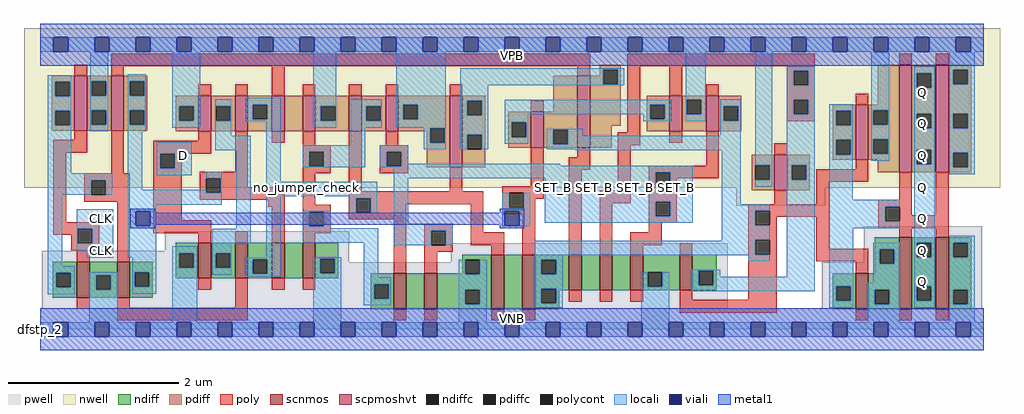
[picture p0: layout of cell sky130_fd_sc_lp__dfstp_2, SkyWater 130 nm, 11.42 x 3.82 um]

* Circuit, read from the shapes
.subckt sky130_fd_sc_lp__dfstp_2 CLK D SET_B VGND VNB VPB VPWR Q
XM1 VGND CLK n1 VNB sky130_fd_pr__nfet_01v8 w=0.42 l=0.15
XM2 n2 n1 VGND VNB sky130_fd_pr__nfet_01v8 w=0.42 l=0.15
XM3 n3 D VGND VNB sky130_fd_pr__nfet_01v8 w=0.42 l=0.15
XM4 n4 n1 n3 VNB sky130_fd_pr__nfet_01v8 w=0.42 l=0.15
XM5 n5 n2 n4 VNB sky130_fd_pr__nfet_01v8 w=0.42 l=0.15
XM6 VGND n6 n5 VNB sky130_fd_pr__nfet_01v8 w=0.42 l=0.15
XM7 n7 n4 n6 VNB sky130_fd_pr__nfet_01v8 w=0.42 l=0.15
XM8 VGND SET_B n7 VNB sky130_fd_pr__nfet_01v8 w=0.42 l=0.15
XM9 n8 n4 VGND VNB sky130_fd_pr__nfet_01v8 w=0.64 l=0.15
XM10 n9 n2 n8 VNB sky130_fd_pr__nfet_01v8 w=0.64 l=0.15
XM11 n10 n1 n9 VNB sky130_fd_pr__nfet_01v8 w=0.42 l=0.15
XM12 n11 n12 n10 VNB sky130_fd_pr__nfet_01v8 w=0.42 l=0.15
XM13 VGND SET_B n11 VNB sky130_fd_pr__nfet_01v8 w=0.42 l=0.15
XM14 n12 n9 VGND VNB sky130_fd_pr__nfet_01v8 w=0.42 l=0.15
XM15 VGND n9 n13 VNB sky130_fd_pr__nfet_01v8 w=0.42 l=0.15
XM16 Q n13 VGND VNB sky130_fd_pr__nfet_01v8 w=0.84 l=0.15 m=2
XM17 VPWR CLK n1 VPB sky130_fd_pr__pfet_01v8_hvt w=0.64 l=0.15
XM18 n2 n1 VPWR VPB sky130_fd_pr__pfet_01v8_hvt w=0.64 l=0.15
XM19 n3 D VPWR VPB sky130_fd_pr__pfet_01v8_hvt w=0.42 l=0.15
XM20 n4 n2 n3 VPB sky130_fd_pr__pfet_01v8_hvt w=0.42 l=0.15
XM21 n14 n1 n4 VPB sky130_fd_pr__pfet_01v8_hvt w=0.42 l=0.15
XM22 VPWR n6 n14 VPB sky130_fd_pr__pfet_01v8_hvt w=0.42 l=0.15
XM23 n6 n4 VPWR VPB sky130_fd_pr__pfet_01v8_hvt w=0.42 l=0.15
XM24 VPWR SET_B n6 VPB sky130_fd_pr__pfet_01v8_hvt w=0.42 l=0.15
XM25 n15 n4 VPWR VPB sky130_fd_pr__pfet_01v8_hvt w=0.84 l=0.15
XM26 n9 n2 n16 VPB sky130_fd_pr__pfet_01v8_hvt w=0.42 l=0.15
XM27 n15 n1 n9 VPB sky130_fd_pr__pfet_01v8_hvt w=0.84 l=0.15
XM28 VPWR n12 n16 VPB sky130_fd_pr__pfet_01v8_hvt w=0.42 l=0.15
XM29 n9 SET_B VPWR VPB sky130_fd_pr__pfet_01v8_hvt w=0.42 l=0.15
XM30 n12 n9 VPWR VPB sky130_fd_pr__pfet_01v8_hvt w=0.42 l=0.15
XM31 VPWR n9 n13 VPB sky130_fd_pr__pfet_01v8_hvt w=0.64 l=0.15
XM32 Q n13 VPWR VPB sky130_fd_pr__pfet_01v8_hvt w=1.26 l=0.15 m=2
.ends

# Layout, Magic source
magic
tech sky130A
magscale 1 2
<< nwell >>
rect -38 331 2246 704
rect 1629 289 1837 331
<< pwell >>
rect 291 184 723 229
rect 3 157 723 184
rect 961 157 1609 201
rect 1927 157 2205 241
rect 3 49 1609 157
rect 1829 49 2205 157
rect 0 0 2208 49
<< scnmos >>
rect 86 74 116 158
rect 180 74 210 158
rect 370 119 400 203
rect 456 119 486 203
rect 542 119 572 203
rect 614 119 644 203
rect 827 47 857 131
rect 899 47 929 131
rect 1056 47 1086 175
rect 1128 47 1158 175
rect 1237 91 1267 175
rect 1309 91 1339 175
rect 1381 91 1411 175
rect 1496 91 1526 175
rect 1908 47 1938 131
rect 2010 47 2040 215
rect 2096 47 2126 215
<< scpmoshvt >>
rect 80 465 110 593
rect 166 465 196 593
rect 370 463 400 547
rect 456 463 486 547
rect 542 463 572 547
rect 614 463 644 547
rect 722 463 752 547
rect 808 463 838 547
rect 958 379 988 547
rect 1148 425 1178 509
rect 1257 425 1287 593
rect 1472 463 1502 547
rect 1558 463 1588 547
rect 1718 325 1748 409
rect 1908 397 1938 525
rect 2010 367 2040 619
rect 2096 367 2126 619
<< ndiff >>
rect 317 178 370 203
rect 29 132 86 158
rect 29 98 37 132
rect 71 98 86 132
rect 29 74 86 98
rect 116 126 180 158
rect 116 92 131 126
rect 165 92 180 126
rect 116 74 180 92
rect 210 133 263 158
rect 210 99 221 133
rect 255 99 263 133
rect 317 144 325 178
rect 359 144 370 178
rect 317 119 370 144
rect 400 178 456 203
rect 400 144 411 178
rect 445 144 456 178
rect 400 119 456 144
rect 486 164 542 203
rect 486 130 497 164
rect 531 130 542 164
rect 486 119 542 130
rect 572 119 614 203
rect 644 165 697 203
rect 644 131 655 165
rect 689 131 697 165
rect 987 163 1056 175
rect 987 131 995 163
rect 644 119 697 131
rect 210 74 263 99
rect 774 106 827 131
rect 774 72 782 106
rect 816 72 827 106
rect 774 47 827 72
rect 857 47 899 131
rect 929 129 995 131
rect 1029 129 1056 163
rect 929 93 1056 129
rect 929 59 995 93
rect 1029 59 1056 93
rect 929 47 1056 59
rect 1086 47 1128 175
rect 1158 163 1237 175
rect 1158 129 1173 163
rect 1207 129 1237 163
rect 1158 95 1237 129
rect 1158 61 1173 95
rect 1207 91 1237 95
rect 1267 91 1309 175
rect 1339 91 1381 175
rect 1411 133 1496 175
rect 1411 99 1422 133
rect 1456 99 1496 133
rect 1411 91 1496 99
rect 1526 137 1583 175
rect 1526 103 1541 137
rect 1575 103 1583 137
rect 1526 91 1583 103
rect 1207 61 1215 91
rect 1953 187 2010 215
rect 1953 153 1965 187
rect 1999 153 2010 187
rect 1953 131 2010 153
rect 1158 47 1215 61
rect 1855 101 1908 131
rect 1855 67 1863 101
rect 1897 67 1908 101
rect 1855 47 1908 67
rect 1938 93 2010 131
rect 1938 59 1953 93
rect 1987 59 2010 93
rect 1938 47 2010 59
rect 2040 203 2096 215
rect 2040 169 2051 203
rect 2085 169 2096 203
rect 2040 101 2096 169
rect 2040 67 2051 101
rect 2085 67 2096 101
rect 2040 47 2096 67
rect 2126 203 2179 215
rect 2126 169 2137 203
rect 2171 169 2179 203
rect 2126 93 2179 169
rect 2126 59 2137 93
rect 2171 59 2179 93
rect 2126 47 2179 59
<< pdiff >>
rect 27 579 80 593
rect 27 545 35 579
rect 69 545 80 579
rect 27 511 80 545
rect 27 477 35 511
rect 69 477 80 511
rect 27 465 80 477
rect 110 581 166 593
rect 110 547 121 581
rect 155 547 166 581
rect 110 513 166 547
rect 110 479 121 513
rect 155 479 166 513
rect 110 465 166 479
rect 196 581 251 593
rect 196 547 209 581
rect 243 547 251 581
rect 1309 607 1359 619
rect 1309 593 1317 607
rect 196 513 251 547
rect 196 479 209 513
rect 243 479 251 513
rect 196 465 251 479
rect 317 522 370 547
rect 317 488 325 522
rect 359 488 370 522
rect 317 463 370 488
rect 400 522 456 547
rect 400 488 411 522
rect 445 488 456 522
rect 400 463 456 488
rect 486 526 542 547
rect 486 492 497 526
rect 531 492 542 526
rect 486 463 542 492
rect 572 463 614 547
rect 644 522 722 547
rect 644 488 657 522
rect 691 488 722 522
rect 644 463 722 488
rect 752 522 808 547
rect 752 488 763 522
rect 797 488 808 522
rect 752 463 808 488
rect 838 525 958 547
rect 838 491 849 525
rect 883 491 958 525
rect 838 471 958 491
rect 838 463 913 471
rect 905 437 913 463
rect 947 437 958 471
rect 905 379 958 437
rect 988 535 1041 547
rect 988 501 999 535
rect 1033 501 1041 535
rect 1200 509 1257 593
rect 988 455 1041 501
rect 988 421 999 455
rect 1033 421 1041 455
rect 1095 484 1148 509
rect 1095 450 1103 484
rect 1137 450 1148 484
rect 1095 425 1148 450
rect 1178 467 1257 509
rect 1178 433 1201 467
rect 1235 433 1257 467
rect 1178 425 1257 433
rect 1287 573 1317 593
rect 1351 573 1359 607
rect 1287 476 1359 573
rect 1287 425 1337 476
rect 1419 525 1472 547
rect 1419 491 1427 525
rect 1461 491 1472 525
rect 1419 463 1472 491
rect 1502 537 1558 547
rect 1502 503 1513 537
rect 1547 503 1558 537
rect 1502 463 1558 503
rect 1588 522 1641 547
rect 1588 488 1599 522
rect 1633 488 1641 522
rect 1588 463 1641 488
rect 1960 525 2010 619
rect 1855 511 1908 525
rect 1855 477 1863 511
rect 1897 477 1908 511
rect 988 379 1041 421
rect 1855 443 1908 477
rect 1855 409 1863 443
rect 1897 409 1908 443
rect 1665 384 1718 409
rect 1665 350 1673 384
rect 1707 350 1718 384
rect 1665 325 1718 350
rect 1748 384 1801 409
rect 1855 397 1908 409
rect 1938 513 2010 525
rect 1938 479 1949 513
rect 1983 479 2010 513
rect 1938 445 2010 479
rect 1938 411 1949 445
rect 1983 411 2010 445
rect 1938 397 2010 411
rect 1748 350 1759 384
rect 1793 350 1801 384
rect 1748 325 1801 350
rect 1960 367 2010 397
rect 2040 599 2096 619
rect 2040 565 2051 599
rect 2085 565 2096 599
rect 2040 504 2096 565
rect 2040 470 2051 504
rect 2085 470 2096 504
rect 2040 420 2096 470
rect 2040 386 2051 420
rect 2085 386 2096 420
rect 2040 367 2096 386
rect 2126 607 2179 619
rect 2126 573 2137 607
rect 2171 573 2179 607
rect 2126 505 2179 573
rect 2126 471 2137 505
rect 2171 471 2179 505
rect 2126 413 2179 471
rect 2126 379 2137 413
rect 2171 379 2179 413
rect 2126 367 2179 379
<< ndiffc >>
rect 37 98 71 132
rect 131 92 165 126
rect 221 99 255 133
rect 325 144 359 178
rect 411 144 445 178
rect 497 130 531 164
rect 655 131 689 165
rect 782 72 816 106
rect 995 129 1029 163
rect 995 59 1029 93
rect 1173 129 1207 163
rect 1173 61 1207 95
rect 1422 99 1456 133
rect 1541 103 1575 137
rect 1965 153 1999 187
rect 1863 67 1897 101
rect 1953 59 1987 93
rect 2051 169 2085 203
rect 2051 67 2085 101
rect 2137 169 2171 203
rect 2137 59 2171 93
<< pdiffc >>
rect 35 545 69 579
rect 35 477 69 511
rect 121 547 155 581
rect 121 479 155 513
rect 209 547 243 581
rect 209 479 243 513
rect 325 488 359 522
rect 411 488 445 522
rect 497 492 531 526
rect 657 488 691 522
rect 763 488 797 522
rect 849 491 883 525
rect 913 437 947 471
rect 999 501 1033 535
rect 999 421 1033 455
rect 1103 450 1137 484
rect 1201 433 1235 467
rect 1317 573 1351 607
rect 1427 491 1461 525
rect 1513 503 1547 537
rect 1599 488 1633 522
rect 1863 477 1897 511
rect 1863 409 1897 443
rect 1673 350 1707 384
rect 1949 479 1983 513
rect 1949 411 1983 445
rect 1759 350 1793 384
rect 2051 565 2085 599
rect 2051 470 2085 504
rect 2051 386 2085 420
rect 2137 573 2171 607
rect 2137 471 2171 505
rect 2137 379 2171 413
<< poly >>
rect 80 593 110 619
rect 166 615 1287 645
rect 166 593 196 615
rect 370 547 400 573
rect 456 547 486 573
rect 542 547 572 615
rect 1257 593 1287 615
rect 614 547 644 573
rect 722 547 752 573
rect 808 547 838 573
rect 958 547 988 573
rect 80 443 110 465
rect 31 413 110 443
rect 31 251 61 413
rect 166 365 196 465
rect 370 441 400 463
rect 265 411 400 441
rect 265 377 281 411
rect 315 377 331 411
rect 103 349 210 365
rect 103 315 119 349
rect 153 315 210 349
rect 103 299 210 315
rect 31 235 138 251
rect 31 221 88 235
rect 72 201 88 221
rect 122 201 138 235
rect 72 185 138 201
rect 86 158 116 185
rect 180 158 210 299
rect 265 255 331 377
rect 456 369 486 463
rect 542 437 572 463
rect 373 353 486 369
rect 373 319 389 353
rect 423 333 486 353
rect 614 431 644 463
rect 614 415 680 431
rect 614 381 630 415
rect 664 381 680 415
rect 614 365 680 381
rect 423 319 564 333
rect 373 317 564 319
rect 373 303 572 317
rect 534 287 572 303
rect 265 225 400 255
rect 370 203 400 225
rect 456 203 486 229
rect 542 203 572 287
rect 614 291 644 365
rect 722 323 752 463
rect 808 431 838 463
rect 795 415 861 431
rect 795 381 811 415
rect 845 381 861 415
rect 795 365 861 381
rect 1148 509 1178 535
rect 1374 615 1813 645
rect 2010 619 2040 645
rect 2096 619 2126 645
rect 1374 461 1404 615
rect 1472 547 1502 615
rect 1747 605 1813 615
rect 1558 547 1588 573
rect 1747 571 1763 605
rect 1797 571 1813 605
rect 1747 537 1813 571
rect 1747 503 1763 537
rect 1797 503 1813 537
rect 1908 525 1938 551
rect 1747 487 1813 503
rect 1352 431 1404 461
rect 1472 437 1502 463
rect 958 323 988 379
rect 1148 335 1178 425
rect 1257 403 1287 425
rect 722 307 1037 323
rect 614 275 680 291
rect 614 241 630 275
rect 664 241 680 275
rect 722 273 739 307
rect 773 293 1037 307
rect 773 273 857 293
rect 722 257 857 273
rect 614 225 680 241
rect 614 203 644 225
rect 827 131 857 257
rect 899 231 965 247
rect 899 197 915 231
rect 949 197 965 231
rect 1007 227 1037 293
rect 1081 319 1178 335
rect 1081 285 1097 319
rect 1131 305 1178 319
rect 1237 373 1287 403
rect 1131 285 1158 305
rect 1081 269 1158 285
rect 1007 197 1086 227
rect 899 181 965 197
rect 899 131 929 181
rect 1056 175 1086 197
rect 1128 175 1158 269
rect 1237 175 1267 373
rect 1352 325 1382 431
rect 1558 383 1588 463
rect 1718 409 1748 435
rect 1309 295 1382 325
rect 1424 367 1588 383
rect 1424 333 1440 367
rect 1474 353 1588 367
rect 1474 333 1490 353
rect 1424 299 1490 333
rect 1908 375 1938 397
rect 1816 345 1938 375
rect 1309 175 1339 295
rect 1424 265 1440 299
rect 1474 265 1490 299
rect 1718 293 1748 325
rect 1816 293 1846 345
rect 2010 303 2040 367
rect 1424 249 1490 265
rect 1657 277 1846 293
rect 1424 227 1454 249
rect 1381 197 1454 227
rect 1657 243 1673 277
rect 1707 263 1846 277
rect 1707 243 1723 263
rect 1657 209 1723 243
rect 1381 175 1411 197
rect 1496 175 1526 201
rect 1657 175 1673 209
rect 1707 175 1723 209
rect 370 93 400 119
rect 86 48 116 74
rect 180 51 210 74
rect 456 51 486 119
rect 542 93 572 119
rect 614 93 644 119
rect 180 21 486 51
rect 1237 65 1267 91
rect 1309 65 1339 91
rect 1381 65 1411 91
rect 1496 69 1526 91
rect 1657 69 1723 175
rect 1816 189 1846 263
rect 1961 287 2040 303
rect 1961 253 1977 287
rect 2011 267 2040 287
rect 2096 267 2126 367
rect 2011 253 2126 267
rect 1961 237 2126 253
rect 2010 215 2040 237
rect 2096 215 2126 237
rect 1816 159 1938 189
rect 1908 131 1938 159
rect 827 21 857 47
rect 899 21 929 47
rect 1056 21 1086 47
rect 1128 21 1158 47
rect 1496 39 1723 69
rect 1908 21 1938 47
rect 2010 21 2040 47
rect 2096 21 2126 47
<< polycont >>
rect 281 377 315 411
rect 119 315 153 349
rect 88 201 122 235
rect 389 319 423 353
rect 630 381 664 415
rect 811 381 845 415
rect 1763 571 1797 605
rect 1763 503 1797 537
rect 630 241 664 275
rect 739 273 773 307
rect 915 197 949 231
rect 1097 285 1131 319
rect 1440 333 1474 367
rect 1440 265 1474 299
rect 1673 243 1707 277
rect 1673 175 1707 209
rect 1977 253 2011 287
<< locali >>
rect 0 649 31 683
rect 65 649 127 683
rect 161 649 223 683
rect 257 649 319 683
rect 353 649 415 683
rect 449 649 511 683
rect 545 649 607 683
rect 641 649 703 683
rect 737 649 799 683
rect 833 649 895 683
rect 929 649 991 683
rect 1025 649 1087 683
rect 1121 649 1183 683
rect 1217 649 1279 683
rect 1313 649 1375 683
rect 1409 649 1471 683
rect 1505 649 1567 683
rect 1601 649 1663 683
rect 1697 649 1759 683
rect 1793 649 1855 683
rect 1889 649 1951 683
rect 1985 649 2047 683
rect 2081 649 2143 683
rect 2177 649 2208 683
rect 18 579 73 595
rect 18 545 35 579
rect 69 545 73 579
rect 18 511 73 545
rect 18 477 35 511
rect 69 477 73 511
rect 18 365 73 477
rect 117 581 159 649
rect 117 547 121 581
rect 155 547 159 581
rect 117 513 159 547
rect 117 479 121 513
rect 155 479 159 513
rect 117 463 159 479
rect 205 581 247 597
rect 205 547 209 581
rect 243 547 247 581
rect 205 513 247 547
rect 205 479 209 513
rect 243 479 247 513
rect 205 463 247 479
rect 309 522 375 649
rect 309 488 325 522
rect 359 488 375 522
rect 309 472 375 488
rect 409 522 447 538
rect 409 488 411 522
rect 445 488 447 522
rect 18 349 169 365
rect 18 315 119 349
rect 153 315 169 349
rect 205 327 239 463
rect 409 453 447 488
rect 481 526 563 542
rect 481 492 497 526
rect 531 492 563 526
rect 481 487 563 492
rect 273 411 355 438
rect 409 419 493 453
rect 273 377 281 411
rect 315 377 355 411
rect 273 361 355 377
rect 389 353 425 369
rect 205 319 389 327
rect 423 319 425 353
rect 18 148 52 315
rect 205 291 425 319
rect 86 235 171 281
rect 86 201 88 235
rect 122 201 171 235
rect 86 185 171 201
rect 109 168 171 185
rect 205 276 271 291
rect 205 242 223 276
rect 257 242 271 276
rect 205 168 271 242
rect 459 235 493 419
rect 402 201 493 235
rect 529 345 563 487
rect 639 522 693 649
rect 639 488 657 522
rect 691 488 693 522
rect 639 472 693 488
rect 727 522 799 538
rect 727 488 763 522
rect 797 488 799 522
rect 727 472 799 488
rect 833 525 949 649
rect 833 491 849 525
rect 883 491 949 525
rect 833 472 949 491
rect 727 431 761 472
rect 897 471 949 472
rect 897 437 913 471
rect 947 437 949 471
rect 614 415 761 431
rect 614 381 630 415
rect 664 381 761 415
rect 614 379 761 381
rect 795 415 861 431
rect 897 421 949 437
rect 983 607 1367 611
rect 983 573 1317 607
rect 1351 573 1367 607
rect 983 571 1367 573
rect 983 535 1049 571
rect 1511 537 1557 649
rect 983 501 999 535
rect 1033 501 1049 535
rect 983 455 1049 501
rect 983 421 999 455
rect 1033 421 1049 455
rect 1087 525 1477 537
rect 1087 503 1427 525
rect 1087 484 1142 503
rect 1411 491 1427 503
rect 1461 491 1477 525
rect 1411 487 1477 491
rect 1511 503 1513 537
rect 1547 503 1557 537
rect 1511 487 1557 503
rect 1591 522 1639 538
rect 1591 488 1599 522
rect 1633 488 1639 522
rect 1087 450 1103 484
rect 1137 450 1142 484
rect 1087 434 1142 450
rect 1185 467 1270 469
rect 1185 433 1201 467
rect 1235 453 1270 467
rect 1591 453 1639 488
rect 1235 433 1639 453
rect 1185 421 1639 433
rect 1251 419 1639 421
rect 795 381 811 415
rect 845 387 861 415
rect 845 383 1217 387
rect 845 381 1527 383
rect 795 379 1527 381
rect 827 367 1527 379
rect 827 353 1440 367
rect 529 311 789 345
rect 18 132 81 148
rect 18 98 37 132
rect 71 98 81 132
rect 18 82 81 98
rect 115 126 181 134
rect 115 92 131 126
rect 165 92 181 126
rect 115 17 181 92
rect 215 133 271 168
rect 215 99 221 133
rect 255 99 271 133
rect 215 83 271 99
rect 309 178 368 194
rect 309 144 325 178
rect 359 144 368 178
rect 309 17 368 144
rect 402 178 447 201
rect 402 144 411 178
rect 445 144 447 178
rect 529 167 563 311
rect 723 307 789 311
rect 614 275 680 277
rect 614 241 630 275
rect 664 241 680 275
rect 723 273 739 307
rect 773 273 789 307
rect 723 271 789 273
rect 614 237 680 241
rect 827 247 861 353
rect 1181 333 1440 353
rect 1474 333 1527 367
rect 1081 285 1097 319
rect 1131 285 1147 319
rect 1081 276 1147 285
rect 614 203 791 237
rect 402 128 447 144
rect 481 164 563 167
rect 481 130 497 164
rect 531 130 563 164
rect 481 123 563 130
rect 639 165 705 169
rect 639 131 655 165
rect 689 131 705 165
rect 639 17 705 131
rect 757 122 791 203
rect 827 231 965 247
rect 1081 242 1087 276
rect 1121 242 1147 276
rect 1181 299 1527 333
rect 1181 265 1440 299
rect 1474 265 1527 299
rect 1181 249 1527 265
rect 1595 293 1639 419
rect 1673 384 1713 649
rect 1707 350 1713 384
rect 1673 334 1713 350
rect 1747 605 1813 615
rect 1747 571 1763 605
rect 1797 571 1813 605
rect 1747 537 1813 571
rect 1747 503 1763 537
rect 1797 503 1813 537
rect 1747 384 1813 503
rect 1747 350 1759 384
rect 1793 350 1813 384
rect 1595 277 1707 293
rect 1081 241 1147 242
rect 1595 243 1673 277
rect 827 197 915 231
rect 949 197 965 231
rect 1595 209 1707 243
rect 1595 207 1673 209
rect 1157 175 1673 207
rect 1157 173 1707 175
rect 1157 163 1223 173
rect 979 129 995 163
rect 1029 129 1045 163
rect 757 106 820 122
rect 757 72 782 106
rect 816 72 820 106
rect 757 56 820 72
rect 979 93 1045 129
rect 979 59 995 93
rect 1029 59 1045 93
rect 979 17 1045 59
rect 1157 129 1173 163
rect 1207 129 1223 163
rect 1657 159 1707 173
rect 1525 137 1591 139
rect 1157 95 1223 129
rect 1157 61 1173 95
rect 1207 61 1223 95
rect 1157 51 1223 61
rect 1406 99 1422 133
rect 1456 99 1472 133
rect 1406 17 1472 99
rect 1525 103 1541 137
rect 1575 123 1591 137
rect 1747 123 1813 350
rect 1575 103 1813 123
rect 1525 89 1813 103
rect 1847 511 1901 527
rect 1847 477 1863 511
rect 1897 477 1901 511
rect 1847 443 1901 477
rect 1847 409 1863 443
rect 1897 409 1901 443
rect 1847 303 1901 409
rect 1945 513 1987 649
rect 1945 479 1949 513
rect 1983 479 1987 513
rect 1945 445 1987 479
rect 1945 411 1949 445
rect 1983 411 1987 445
rect 1945 395 1987 411
rect 2045 599 2093 615
rect 2045 565 2051 599
rect 2085 565 2093 599
rect 2045 504 2093 565
rect 2045 470 2051 504
rect 2085 470 2093 504
rect 2045 420 2093 470
rect 2045 386 2051 420
rect 2085 386 2093 420
rect 1847 287 2011 303
rect 1847 253 1977 287
rect 1847 237 2011 253
rect 1847 101 1903 237
rect 2045 203 2093 386
rect 2127 607 2187 649
rect 2127 573 2137 607
rect 2171 573 2187 607
rect 2127 505 2187 573
rect 2127 471 2137 505
rect 2171 471 2187 505
rect 2127 413 2187 471
rect 2127 379 2137 413
rect 2171 379 2187 413
rect 2127 363 2187 379
rect 1949 187 2011 203
rect 1949 153 1965 187
rect 1999 153 2011 187
rect 1949 109 2011 153
rect 1847 67 1863 101
rect 1897 67 1903 101
rect 1847 51 1903 67
rect 1937 93 2011 109
rect 1937 59 1953 93
rect 1987 59 2011 93
rect 1937 17 2011 59
rect 2045 169 2051 203
rect 2085 169 2093 203
rect 2045 101 2093 169
rect 2045 67 2051 101
rect 2085 67 2093 101
rect 2045 51 2093 67
rect 2127 203 2187 219
rect 2127 169 2137 203
rect 2171 169 2187 203
rect 2127 93 2187 169
rect 2127 59 2137 93
rect 2171 59 2187 93
rect 2127 17 2187 59
rect 0 -17 31 17
rect 65 -17 127 17
rect 161 -17 223 17
rect 257 -17 319 17
rect 353 -17 415 17
rect 449 -17 511 17
rect 545 -17 607 17
rect 641 -17 703 17
rect 737 -17 799 17
rect 833 -17 895 17
rect 929 -17 991 17
rect 1025 -17 1087 17
rect 1121 -17 1183 17
rect 1217 -17 1279 17
rect 1313 -17 1375 17
rect 1409 -17 1471 17
rect 1505 -17 1567 17
rect 1601 -17 1663 17
rect 1697 -17 1759 17
rect 1793 -17 1855 17
rect 1889 -17 1951 17
rect 1985 -17 2047 17
rect 2081 -17 2143 17
rect 2177 -17 2208 17
<< viali >>
rect 31 649 65 683
rect 127 649 161 683
rect 223 649 257 683
rect 319 649 353 683
rect 415 649 449 683
rect 511 649 545 683
rect 607 649 641 683
rect 703 649 737 683
rect 799 649 833 683
rect 895 649 929 683
rect 991 649 1025 683
rect 1087 649 1121 683
rect 1183 649 1217 683
rect 1279 649 1313 683
rect 1375 649 1409 683
rect 1471 649 1505 683
rect 1567 649 1601 683
rect 1663 649 1697 683
rect 1759 649 1793 683
rect 1855 649 1889 683
rect 1951 649 1985 683
rect 2047 649 2081 683
rect 2143 649 2177 683
rect 223 242 257 276
rect 1087 242 1121 276
rect 31 -17 65 17
rect 127 -17 161 17
rect 223 -17 257 17
rect 319 -17 353 17
rect 415 -17 449 17
rect 511 -17 545 17
rect 607 -17 641 17
rect 703 -17 737 17
rect 799 -17 833 17
rect 895 -17 929 17
rect 991 -17 1025 17
rect 1087 -17 1121 17
rect 1183 -17 1217 17
rect 1279 -17 1313 17
rect 1375 -17 1409 17
rect 1471 -17 1505 17
rect 1567 -17 1601 17
rect 1663 -17 1697 17
rect 1759 -17 1793 17
rect 1855 -17 1889 17
rect 1951 -17 1985 17
rect 2047 -17 2081 17
rect 2143 -17 2177 17
<< metal1 >>
rect 0 683 2208 715
rect 0 649 31 683
rect 65 649 127 683
rect 161 649 223 683
rect 257 649 319 683
rect 353 649 415 683
rect 449 649 511 683
rect 545 649 607 683
rect 641 649 703 683
rect 737 649 799 683
rect 833 649 895 683
rect 929 649 991 683
rect 1025 649 1087 683
rect 1121 649 1183 683
rect 1217 649 1279 683
rect 1313 649 1375 683
rect 1409 649 1471 683
rect 1505 649 1567 683
rect 1601 649 1663 683
rect 1697 649 1759 683
rect 1793 649 1855 683
rect 1889 649 1951 683
rect 1985 649 2047 683
rect 2081 649 2143 683
rect 2177 649 2208 683
rect 0 617 2208 649
rect 211 276 269 282
rect 211 242 223 276
rect 257 273 269 276
rect 1075 276 1133 282
rect 1075 273 1087 276
rect 257 245 1087 273
rect 257 242 269 245
rect 211 236 269 242
rect 1075 242 1087 245
rect 1121 242 1133 276
rect 1075 236 1133 242
rect 0 17 2208 49
rect 0 -17 31 17
rect 65 -17 127 17
rect 161 -17 223 17
rect 257 -17 319 17
rect 353 -17 415 17
rect 449 -17 511 17
rect 545 -17 607 17
rect 641 -17 703 17
rect 737 -17 799 17
rect 833 -17 895 17
rect 929 -17 991 17
rect 1025 -17 1087 17
rect 1121 -17 1183 17
rect 1217 -17 1279 17
rect 1313 -17 1375 17
rect 1409 -17 1471 17
rect 1505 -17 1567 17
rect 1601 -17 1663 17
rect 1697 -17 1759 17
rect 1793 -17 1855 17
rect 1889 -17 1951 17
rect 1985 -17 2047 17
rect 2081 -17 2143 17
rect 2177 -17 2208 17
rect 0 -49 2208 -17
<< labels >>
flabel pwell s 0 0 2208 49 0 FreeSans 200 0 0 0 VNB
port 5 nsew ground bidirectional
flabel nwell s 0 617 2208 666 0 FreeSans 200 0 0 0 VPB
port 6 nsew power bidirectional
rlabel comment s 0 0 0 0 4 dfstp_2
flabel comment s 624 332 624 332 0 FreeSans 200 90 0 0 no_jumper_check
flabel metal1 s 0 617 2208 666 0 FreeSans 340 0 0 0 VPWR
port 7 nsew power bidirectional
flabel metal1 s 0 0 2208 49 0 FreeSans 340 0 0 0 VGND
port 4 nsew ground bidirectional
flabel locali s 1183 316 1217 350 0 FreeSans 340 0 0 0 SET_B
port 3 nsew signal input
flabel locali s 1279 316 1313 350 0 FreeSans 340 0 0 0 SET_B
port 3 nsew signal input
flabel locali s 1375 316 1409 350 0 FreeSans 340 0 0 0 SET_B
port 3 nsew signal input
flabel locali s 1471 316 1505 350 0 FreeSans 340 0 0 0 SET_B
port 3 nsew signal input
flabel locali s 127 168 161 202 0 FreeSans 340 0 0 0 CLK
port 1 nsew clock input
flabel locali s 127 242 161 276 0 FreeSans 340 0 0 0 CLK
port 1 nsew clock input
flabel locali s 319 390 353 424 0 FreeSans 340 0 0 0 D
port 2 nsew signal input
flabel locali s 2047 94 2081 128 0 FreeSans 340 0 0 0 Q
port 8 nsew signal output
flabel locali s 2047 168 2081 202 0 FreeSans 340 0 0 0 Q
port 8 nsew signal output
flabel locali s 2047 242 2081 276 0 FreeSans 340 0 0 0 Q
port 8 nsew signal output
flabel locali s 2047 316 2081 350 0 FreeSans 340 0 0 0 Q
port 8 nsew signal output
flabel locali s 2047 390 2081 424 0 FreeSans 340 0 0 0 Q
port 8 nsew signal output
flabel locali s 2047 464 2081 498 0 FreeSans 340 0 0 0 Q
port 8 nsew signal output
flabel locali s 2047 538 2081 572 0 FreeSans 340 0 0 0 Q
port 8 nsew signal output
<< properties >>
string LEFsite unit
string LEFclass CORE
string FIXED_BBOX 0 0 2208 666
string GDS_FILE $PDKPATH/libs.ref/sky130_fd_sc_lp/gds/sky130_fd_sc_lp.gds
string LEFsymmetry X Y R90
string GDS_END 344078
string GDS_START 327216
<< end >>
